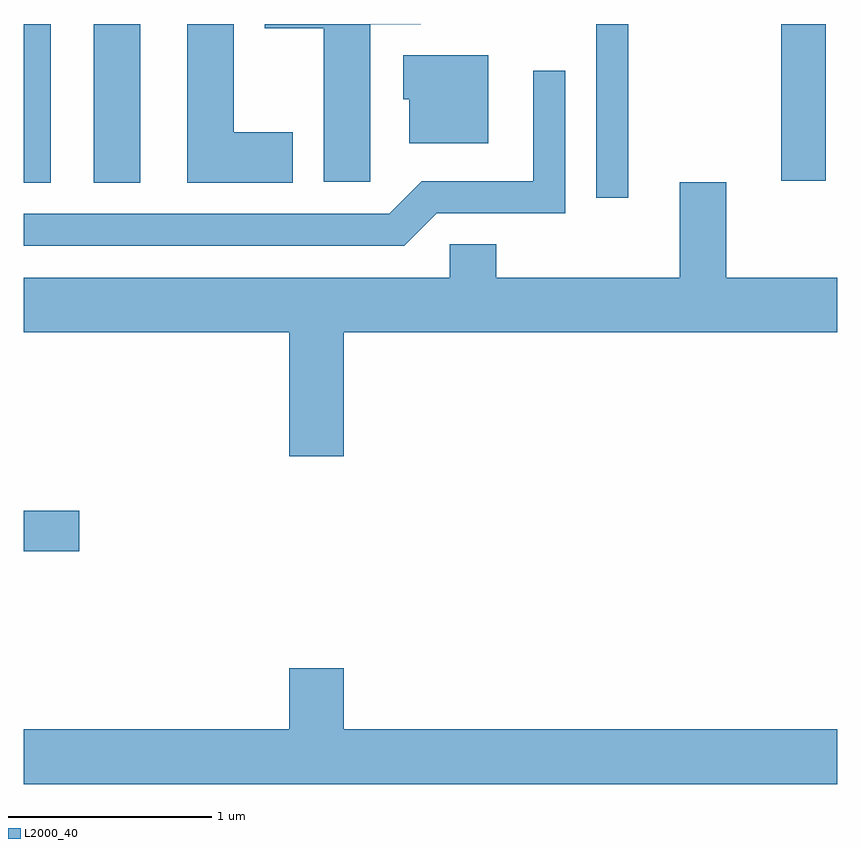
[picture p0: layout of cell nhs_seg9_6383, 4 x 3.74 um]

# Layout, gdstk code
import gdstk
lib = gdstk.Library(unit=1e-6, precision=1e-09)
def R(c, l, rs):  # rectangles x0, y0, x1, y1
    for r in rs: c.add(gdstk.rectangle(r[:2], r[2:], *l))
def P(c, l, *ps):  # polygons
    for p in ps: c.add(gdstk.Polygon(p, *l))
L2000_40 = (2000, 40)

nhs_seg9_6383 = lib.new_cell('nhs_seg9_6383')
R(nhs_seg9_6383, L2000_40, [(373.611,2001.841,373.884,2002.039), (376.426,2003.578,376.584,2004.432), (373.611,2003.651,373.744,2004.432), (373.956,2003.651,374.184,2004.432), (377.336,2003.661,377.554,2004.432)])
P(nhs_seg9_6383, L2000_40, [(374.934,2003.899),(374.644,2003.899),(374.644,2004.432),(374.416,2004.432),(374.416,2003.651),(374.934,2003.651)],
  [(375.314,2004.431),(375.564,2004.431),(375.564,2004.432),(374.796,2004.432),(374.796,2004.411),(375.086,2004.411),(375.086,2003.656),(375.314,2003.656)],
  [(375.894,2004.279),(375.476,2004.279),(375.476,2004.061),(375.506,2004.061),(375.506,2003.846),(375.894,2003.846)],
  [(375.642,2003.501),(376.274,2003.501),(376.274,2004.203),(376.116,2004.203),(376.116,2003.659),(375.569,2003.659),(375.409,2003.499),(373.611,2003.499),(373.611,2003.341),(375.482,2003.341)],
  [(375.184,2002.916),(377.611,2002.916),(377.611,2003.184),(377.064,2003.184),(377.064,2003.654),(376.836,2003.654),(376.836,2003.184),(375.934,2003.184),(375.934,2003.349),(375.706,2003.349),(375.706,2003.184),(373.611,2003.184),(373.611,2002.916),(374.916,2002.916),(374.916,2002.306),(375.184,2002.306)],
  [(377.611,2000.964),(375.184,2000.964),(375.184,2001.264),(374.916,2001.264),(374.916,2000.964),(373.611,2000.964),(373.611,2000.696),(377.611,2000.696)])

lib.write_gds('nhs_seg9_6383.gds')
